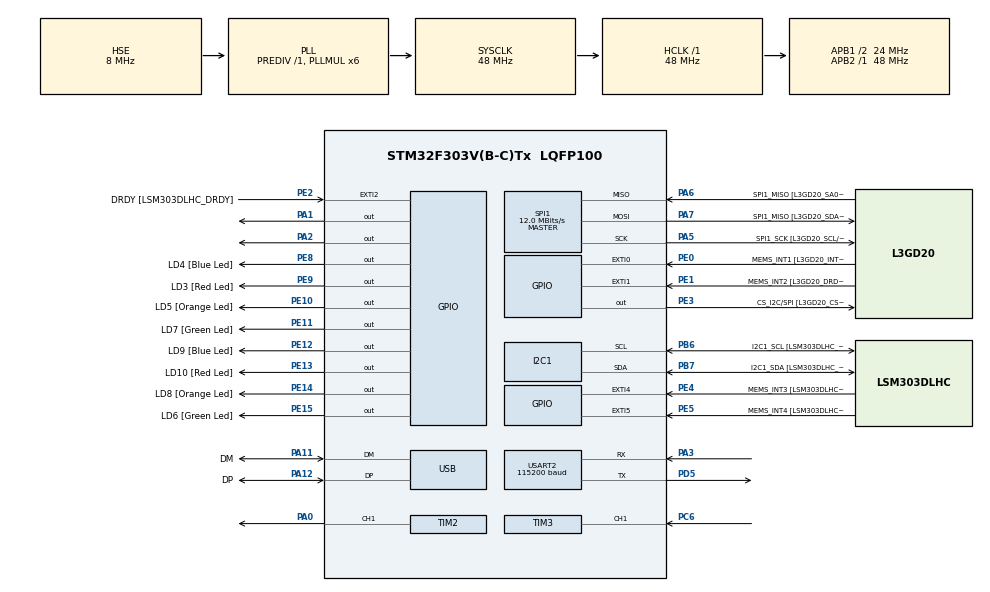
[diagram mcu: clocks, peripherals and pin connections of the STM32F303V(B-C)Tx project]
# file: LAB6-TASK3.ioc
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I2C1.Timing=0x2000090E
I2C1.Timing-I2C=0x2000090E
Mcu.Family=STM32F3
Mcu.Name=STM32F303V(B-C)Tx
Mcu.Package=LQFP100
NVIC.PriorityGroup=NVIC_PRIORITYGROUP_0
NVIC.TIM3_IRQn=true\:0\:0\:false\:false\:true\:true\:true\:true
PA0.Signal=S_TIM2_CH1_ETR
PA1.Signal=GPIO_Output
PA11.GPIO_Label=DM
PA11.Mode=Device
PA11.Signal=USB_DM
PA12.GPIO_Label=DP
PA12.Mode=Device
PA12.Signal=USB_DP
PA13.GPIO_Label=SWDIO
PA13.Mode=Serial_Wire
PA13.Signal=SYS_JTMS-SWDIO
PA14.GPIO_Label=SWCLK
PA14.Mode=Serial_Wire
PA14.Signal=SYS_JTCK-SWCLK
PA2.Signal=GPIO_Output
PA3.Mode=Asynchronous
PA3.Signal=USART2_RX
PA5.GPIO_Label=SPI1_SCK [L3GD20_SCL/SPC]
PA5.Mode=Full_Duplex_Master
PA5.Signal=SPI1_SCK
PA6.GPIO_Label=SPI1_MISO [L3GD20_SA0/SDO]
PA6.Mode=Full_Duplex_Master
PA6.Signal=SPI1_MISO
PA7.GPIO_Label=SPI1_MISO [L3GD20_SDA/SDI/SDO]
PA7.Mode=Full_Duplex_Master
PA7.Signal=SPI1_MOSI
PB3.GPIO_Label=SWO
PB3.Signal=SYS_JTDO-TRACESWO
PB6.GPIO_Label=I2C1_SCL [LSM303DLHC_SCL]
PB6.GPIO_Pu=GPIO_PULLUP
PB6.Mode=I2C
PB6.Signal=I2C1_SCL
PB7.GPIO_Label=I2C1_SDA [LSM303DLHC_SDA]
PB7.GPIO_Pu=GPIO_PULLUP
PB7.Mode=I2C
PB7.Signal=I2C1_SDA
PC14-OSC32_IN.GPIO_Label=OSC32_IN
PC14-OSC32_IN.Signal=RCC_OSC32_IN
PC15-OSC32_OUT.GPIO_Label=OSC32_OUT
PC15-OSC32_OUT.Signal=RCC_OSC32_OUT
PC6.GPIO_PuPd=GPIO_PULLDOWN
PC6.Signal=S_TIM3_CH1
PD5.Mode=Asynchronous
PD5.Signal=USART2_TX
PE0.GPIO_Label=MEMS_INT1 [L3GD20_INT1]
PE0.GPIO_ModeDefaultEXTI=GPIO_MODE_EVT_RISING
PE0.Signal=GPXTI0
PE1.GPIO_Label=MEMS_INT2 [L3GD20_DRDY/INT2]
PE1.GPIO_ModeDefaultEXTI=GPIO_MODE_EVT_RISING
PE1.Signal=GPXTI1
PE10.GPIO_Label=LD5 [Orange Led]
PE10.Signal=GPIO_Output
PE11.GPIO_Label=LD7 [Green Led]
PE11.Signal=GPIO_Output
PE12.GPIO_Label=LD9 [Blue Led]
PE12.Signal=GPIO_Output
PE13.GPIO_Label=LD10 [Red Led]
PE13.Signal=GPIO_Output
PE14.GPIO_Label=LD8 [Orange Led]
PE14.Signal=GPIO_Output
PE15.GPIO_Label=LD6 [Green Led]
PE15.Signal=GPIO_Output
PE2.GPIO_Label=DRDY [LSM303DLHC_DRDY]
PE2.GPIO_ModeDefaultEXTI=GPIO_MODE_EVT_RISING
PE2.Signal=GPXTI2
PE3.GPIO_Label=CS_I2C/SPI [L3GD20_CS_I2C/SPI]
PE3.Signal=GPIO_Output
PE4.GPIO_Label=MEMS_INT3 [LSM303DLHC_INT1]
PE4.GPIO_ModeDefaultEXTI=GPIO_MODE_EVT_RISING
PE4.Signal=GPXTI4
PE5.GPIO_Label=MEMS_INT4 [LSM303DLHC_INT2]
PE5.GPIO_ModeDefaultEXTI=GPIO_MODE_EVT_RISING
PE5.Signal=GPXTI5
PE8.GPIO_Label=LD4 [Blue Led]
PE8.Signal=GPIO_Output
PE9.GPIO_Label=LD3 [Red Led]
PE9.Signal=GPIO_Output
PF0-OSC_IN.GPIO_Label=OSC_IN
PF0-OSC_IN.Mode=HSE-External-Clock-Source
PF0-OSC_IN.Signal=RCC_OSC_IN
PF1-OSC_OUT.GPIO_Label=OSC_OUT
PF1-OSC_OUT.Signal=RCC_OSC_OUT
ProjectManager.HeapSize=0x200
ProjectManager.StackSize=0x400
ProjectManager.TargetToolchain=CMake
RCC.AHBFreq_Value=48000000
RCC.APB1CLKDivider=RCC_HCLK_DIV2
RCC.APB1Freq_Value=24000000
RCC.APB1TimFreq_Value=48000000
RCC.APB2Freq_Value=48000000
RCC.APB2TimFreq_Value=48000000
RCC.CortexFreq_Value=48000000
RCC.HCLKFreq_Value=48000000
RCC.HSE_VALUE=8000000
RCC.HSI_VALUE=8000000
RCC.LSE_VALUE=32768
RCC.PLLMUL=RCC_PLL_MUL6
RCC.SYSCLKFreq_VALUE=48000000
RCC.SYSCLKSourceVirtual=RCC_SYSCLKSOURCE_PLLCLK
RCC.USBFreq_Value=48000000
SH.S_TIM2_CH1_ETR.0=TIM2_CH1,PWM Generation1 CH1
SH.S_TIM3_CH1.0=TIM3_CH1,Input_Capture1_from_TI1
SPI1.BaudRatePrescaler=SPI_BAUDRATEPRESCALER_4
SPI1.BaudRatePrescaler-Full_Duplex_Master=SPI_BAUDRATEPRESCALER_2
SPI1.CalculateBaudRate=12.0 MBits/s
SPI1.CalculateBaudRate-Full_Duplex_Master=24.0 MBits/s
SPI1.Direction=SPI_DIRECTION_2LINES
SPI1.Mode=SPI_MODE_MASTER
SPI1.Mode-Full_Duplex_Master=SPI_MODE_MASTER
SPI1.VirtualType=VM_MASTER
TIM2.Channel-PWM\ Generation1\ CH1=TIM_CHANNEL_1
TIM2.Period=999
TIM2.Prescaler=47
TIM3.Channel-Input_Capture1_from_TI1=TIM_CHANNEL_1
TIM3.Period=65535
TIM3.Prescaler=71
USART2.BaudRate=115200
USART2.VirtualMode-Asynchronous=VM_ASYNC
board=STM32F3DISCOVERY

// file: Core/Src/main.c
/* USER CODE BEGIN Header */
/**
 ******************************************************************************
 * @file           : main.c
 * @brief          : Main program body
 ******************************************************************************
 * @attention
 *
 * Copyright (c) 2025 STMicroelectronics.
 * All rights reserved.
 *
 * This software is licensed under terms that can be found in the LICENSE file
 * in the root directory of this software component.
 * If no LICENSE file comes with this software, it is provided AS-IS.
 *
 ******************************************************************************
 */
/* USER CODE END Header */
#include "main.h"
#include <stdarg.h>
#include <stdio.h>
#include <string.h>

I2C_HandleTypeDef hi2c1;

SPI_HandleTypeDef hspi1;

TIM_HandleTypeDef htim2;
TIM_HandleTypeDef htim3;

UART_HandleTypeDef huart2;

PCD_HandleTypeDef hpcd_USB_FS;

/* USER CODE BEGIN PV */

#define MOTOR_IN1_Pin GPIO_PIN_1
#define MOTOR_IN2_Pin GPIO_PIN_2
#define MOTOR_PORT GPIOA

// Encoder setup
#define ENCODER_Pin GPIO_PIN_6
#define ENCODER_PORT GPIOC

// Constants
#define PPR 1920 // pulses per revolution

/* USER CODE END PV */

void SystemClock_Config(void);
static void MX_GPIO_Init(void);
static void MX_I2C1_Init(void);
static void MX_SPI1_Init(void);
static void MX_TIM2_Init(void);
static void MX_TIM3_Init(void);
static void MX_USART2_UART_Init(void);
static void MX_USB_PCD_Init(void);

/* USER CODE BEGIN 0 */
// Simple UART print helper
void print(const char *fmt, ...)
{
  char buf[128];
  va_list args;
  va_start(args, fmt);
  vsnprintf(buf, sizeof(buf), fmt, args);
  va_end(args);
  HAL_UART_Transmit(&huart2, (uint8_t *)buf, strlen(buf), HAL_MAX_DELAY);
}
/* USER CODE END 0 */

int main(void)
{

  /* MCU Configuration--------------------------------------------------------*/

  /* Reset of all peripherals, Initializes the Flash interface and the Systick. */
  HAL_Init();

  /* Configure the system clock */
  SystemClock_Config();

  /* Initialize all configured peripherals */
  MX_GPIO_Init();
  MX_I2C1_Init();
  MX_SPI1_Init();
  MX_TIM2_Init();
  MX_TIM3_Init();
  MX_USART2_UART_Init();
  MX_USB_PCD_Init();
  /* USER CODE BEGIN 2 */
  print("\r\n=== Lab 06 Task 3: Encoder RPM Measurement (Polling) ===\r\n");
  HAL_TIM_Base_Start(&htim2);
  HAL_TIM_Base_Start(&htim3);

  // Setup motor direction
  HAL_GPIO_WritePin(MOTOR_PORT, MOTOR_IN1_Pin, GPIO_PIN_SET);
  HAL_GPIO_WritePin(MOTOR_PORT, MOTOR_IN2_Pin, GPIO_PIN_RESET);
  HAL_TIM_PWM_Start(&htim2, TIM_CHANNEL_1);
  uint32_t duty = 500; // 50% duty cycle
  __HAL_TIM_SET_COMPARE(&htim2, TIM_CHANNEL_1, duty);

  // uint32_t t1 = 0, t2 = 0;
  uint32_t period_ticks = 0;
  /* USER CODE END 2 */

  /* Infinite loop */
  /* USER CODE END WHILE */

  while (1)
  {
    // Wait for first falling edge
    while (HAL_GPIO_ReadPin(ENCODER_PORT, ENCODER_Pin) == GPIO_PIN_SET)
      ;
    while (HAL_GPIO_ReadPin(ENCODER_PORT, ENCODER_Pin) == GPIO_PIN_RESET)
      ;
    __HAL_TIM_SET_COUNTER(&htim3, 0); // Reset timer

    // Wait for next falling edge
    while (HAL_GPIO_ReadPin(ENCODER_PORT, ENCODER_Pin) == GPIO_PIN_SET)
      ;
    while (HAL_GPIO_ReadPin(ENCODER_PORT, ENCODER_Pin) == GPIO_PIN_RESET)
      ;
    period_ticks = __HAL_TIM_GET_COUNTER(&htim3);

    // Avoid division by zero / overflow
    if (period_ticks > 0 && period_ticks < 60000)
    {
      int freq = 1000000 / (double)period_ticks; // Hz (since TIM3 tick = 1 µs)
      int rpm = (60 * freq) / PPR;

      print("Ticks: %lu   Freq: %d Hz   RPM: %d\r\n", period_ticks, freq, rpm);
    }
    else
    {
      print("Ticks: %lu   (invalid period)\r\n", period_ticks);
    }

    HAL_Delay(300);
  }

  /* USER CODE BEGIN 3 */
}

void SystemClock_Config(void)
{
  RCC_OscInitTypeDef RCC_OscInitStruct = {0};
  RCC_ClkInitTypeDef RCC_ClkInitStruct = {0};
  RCC_PeriphCLKInitTypeDef PeriphClkInit = {0};

  /** Initializes the RCC Oscillators according to the specified parameters
   * in the RCC_OscInitTypeDef structure.
   */
  RCC_OscInitStruct.OscillatorType = RCC_OSCILLATORTYPE_HSI | RCC_OSCILLATORTYPE_HSE;
  RCC_OscInitStruct.HSEState = RCC_HSE_BYPASS;
  RCC_OscInitStruct.HSEPredivValue = RCC_HSE_PREDIV_DIV1;
  RCC_OscInitStruct.HSIState = RCC_HSI_ON;
  RCC_OscInitStruct.HSICalibrationValue = RCC_HSICALIBRATION_DEFAULT;
  RCC_OscInitStruct.PLL.PLLState = RCC_PLL_ON;
  RCC_OscInitStruct.PLL.PLLSource = RCC_PLLSOURCE_HSE;
  RCC_OscInitStruct.PLL.PLLMUL = RCC_PLL_MUL6;
  if (HAL_RCC_OscConfig(&RCC_OscInitStruct) != HAL_OK)
  {
    Error_Handler();
  }

  /** Initializes the CPU, AHB and APB buses clocks
   */
  RCC_ClkInitStruct.ClockType = RCC_CLOCKTYPE_HCLK | RCC_CLOCKTYPE_SYSCLK | RCC_CLOCKTYPE_PCLK1 | RCC_CLOCKTYPE_PCLK2;
  RCC_ClkInitStruct.SYSCLKSource = RCC_SYSCLKSOURCE_PLLCLK;
  RCC_ClkInitStruct.AHBCLKDivider = RCC_SYSCLK_DIV1;
  RCC_ClkInitStruct.APB1CLKDivider = RCC_HCLK_DIV2;
  RCC_ClkInitStruct.APB2CLKDivider = RCC_HCLK_DIV1;

  if (HAL_RCC_ClockConfig(&RCC_ClkInitStruct, FLASH_LATENCY_1) != HAL_OK)
  {
    Error_Handler();
  }
  PeriphClkInit.PeriphClockSelection = RCC_PERIPHCLK_USB | RCC_PERIPHCLK_USART2 | RCC_PERIPHCLK_I2C1;
  PeriphClkInit.Usart2ClockSelection = RCC_USART2CLKSOURCE_PCLK1;
  PeriphClkInit.I2c1ClockSelection = RCC_I2C1CLKSOURCE_HSI;
  PeriphClkInit.USBClockSelection = RCC_USBCLKSOURCE_PLL;
  if (HAL_RCCEx_PeriphCLKConfig(&PeriphClkInit) != HAL_OK)
  {
    Error_Handler();
  }
}

static void MX_I2C1_Init(void)
{

  hi2c1.Instance = I2C1;
  hi2c1.Init.Timing = 0x2000090E;
  hi2c1.Init.OwnAddress1 = 0;
  hi2c1.Init.AddressingMode = I2C_ADDRESSINGMODE_7BIT;
  hi2c1.Init.DualAddressMode = I2C_DUALADDRESS_DISABLE;
  hi2c1.Init.OwnAddress2 = 0;
  hi2c1.Init.OwnAddress2Masks = I2C_OA2_NOMASK;
  hi2c1.Init.GeneralCallMode = I2C_GENERALCALL_DISABLE;
  hi2c1.Init.NoStretchMode = I2C_NOSTRETCH_DISABLE;
  if (HAL_I2C_Init(&hi2c1) != HAL_OK)
  {
    Error_Handler();
  }

  /** Configure Analogue filter
   */
  if (HAL_I2CEx_ConfigAnalogFilter(&hi2c1, I2C_ANALOGFILTER_ENABLE) != HAL_OK)
  {
    Error_Handler();
  }

  /** Configure Digital filter
   */
  if (HAL_I2CEx_ConfigDigitalFilter(&hi2c1, 0) != HAL_OK)
  {
    Error_Handler();
  }
}

static void MX_SPI1_Init(void)
{

  /* SPI1 parameter configuration*/
  hspi1.Instance = SPI1;
  hspi1.Init.Mode = SPI_MODE_MASTER;
  hspi1.Init.Direction = SPI_DIRECTION_2LINES;
  hspi1.Init.DataSize = SPI_DATASIZE_4BIT;
  hspi1.Init.CLKPolarity = SPI_POLARITY_LOW;
  hspi1.Init.CLKPhase = SPI_PHASE_1EDGE;
  hspi1.Init.NSS = SPI_NSS_SOFT;
  hspi1.Init.BaudRatePrescaler = SPI_BAUDRATEPRESCALER_4;
  hspi1.Init.FirstBit = SPI_FIRSTBIT_MSB;
  hspi1.Init.TIMode = SPI_TIMODE_DISABLE;
  hspi1.Init.CRCCalculation = SPI_CRCCALCULATION_DISABLE;
  hspi1.Init.CRCPolynomial = 7;
  hspi1.Init.CRCLength = SPI_CRC_LENGTH_DATASIZE;
  hspi1.Init.NSSPMode = SPI_NSS_PULSE_ENABLE;
  if (HAL_SPI_Init(&hspi1) != HAL_OK)
  {
    Error_Handler();
  }
}

static void MX_TIM2_Init(void)
{

  TIM_MasterConfigTypeDef sMasterConfig = {0};
  TIM_OC_InitTypeDef sConfigOC = {0};

  htim2.Instance = TIM2;
  htim2.Init.Prescaler = 47;
  htim2.Init.CounterMode = TIM_COUNTERMODE_UP;
  htim2.Init.Period = 999;
  htim2.Init.ClockDivision = TIM_CLOCKDIVISION_DIV1;
  htim2.Init.AutoReloadPreload = TIM_AUTORELOAD_PRELOAD_DISABLE;
  if (HAL_TIM_PWM_Init(&htim2) != HAL_OK)
  {
    Error_Handler();
  }
  sMasterConfig.MasterOutputTrigger = TIM_TRGO_RESET;
  sMasterConfig.MasterSlaveMode = TIM_MASTERSLAVEMODE_DISABLE;
  if (HAL_TIMEx_MasterConfigSynchronization(&htim2, &sMasterConfig) != HAL_OK)
  {
    Error_Handler();
  }
  sConfigOC.OCMode = TIM_OCMODE_PWM1;
  sConfigOC.Pulse = 0;
  sConfigOC.OCPolarity = TIM_OCPOLARITY_HIGH;
  sConfigOC.OCFastMode = TIM_OCFAST_DISABLE;
  if (HAL_TIM_PWM_ConfigChannel(&htim2, &sConfigOC, TIM_CHANNEL_1) != HAL_OK)
  {
    Error_Handler();
  }
  HAL_TIM_MspPostInit(&htim2);
}

static void MX_TIM3_Init(void)
{

  TIM_MasterConfigTypeDef sMasterConfig = {0};
  TIM_IC_InitTypeDef sConfigIC = {0};

  htim3.Instance = TIM3;
  htim3.Init.Prescaler = 71;
  htim3.Init.CounterMode = TIM_COUNTERMODE_UP;
  htim3.Init.Period = 65535;
  htim3.Init.ClockDivision = TIM_CLOCKDIVISION_DIV1;
  htim3.Init.AutoReloadPreload = TIM_AUTORELOAD_PRELOAD_DISABLE;
  if (HAL_TIM_IC_Init(&htim3) != HAL_OK)
  {
    Error_Handler();
  }
  sMasterConfig.MasterOutputTrigger = TIM_TRGO_RESET;
  sMasterConfig.MasterSlaveMode = TIM_MASTERSLAVEMODE_DISABLE;
  if (HAL_TIMEx_MasterConfigSynchronization(&htim3, &sMasterConfig) != HAL_OK)
  {
    Error_Handler();
  }
  sConfigIC.ICPolarity = TIM_INPUTCHANNELPOLARITY_RISING;
  sConfigIC.ICSelection = TIM_ICSELECTION_DIRECTTI;
  sConfigIC.ICPrescaler = TIM_ICPSC_DIV1;
  sConfigIC.ICFilter = 0;
  if (HAL_TIM_IC_ConfigChannel(&htim3, &sConfigIC, TIM_CHANNEL_1) != HAL_OK)
  {
    Error_Handler();
  }
}

static void MX_USART2_UART_Init(void)
{

  huart2.Instance = USART2;
  huart2.Init.BaudRate = 115200;
  huart2.Init.WordLength = UART_WORDLENGTH_8B;
  huart2.Init.StopBits = UART_STOPBITS_1;
  huart2.Init.Parity = UART_PARITY_NONE;
  huart2.Init.Mode = UART_MODE_TX_RX;
  huart2.Init.HwFlowCtl = UART_HWCONTROL_NONE;
  huart2.Init.OverSampling = UART_OVERSAMPLING_16;
  huart2.Init.OneBitSampling = UART_ONE_BIT_SAMPLE_DISABLE;
  huart2.AdvancedInit.AdvFeatureInit = UART_ADVFEATURE_NO_INIT;
  if (HAL_UART_Init(&huart2) != HAL_OK)
  {
    Error_Handler();
  }
}

static void MX_USB_PCD_Init(void)
{

  hpcd_USB_FS.Instance = USB;
  hpcd_USB_FS.Init.dev_endpoints = 8;
  hpcd_USB_FS.Init.speed = PCD_SPEED_FULL;
  hpcd_USB_FS.Init.phy_itface = PCD_PHY_EMBEDDED;
  hpcd_USB_FS.Init.low_power_enable = DISABLE;
  hpcd_USB_FS.Init.battery_charging_enable = DISABLE;
  if (HAL_PCD_Init(&hpcd_USB_FS) != HAL_OK)
  {
    Error_Handler();
  }
}

static void MX_GPIO_Init(void)
{
  GPIO_InitTypeDef GPIO_InitStruct = {0};

  /* GPIO Ports Clock Enable */
  __HAL_RCC_GPIOE_CLK_ENABLE();
  __HAL_RCC_GPIOC_CLK_ENABLE();
  __HAL_RCC_GPIOF_CLK_ENABLE();
  __HAL_RCC_GPIOA_CLK_ENABLE();
  __HAL_RCC_GPIOD_CLK_ENABLE();
  __HAL_RCC_GPIOB_CLK_ENABLE();

  /*Configure GPIO pin Output Level */
  HAL_GPIO_WritePin(GPIOE, CS_I2C_SPI_Pin | LD4_Pin | LD3_Pin | LD5_Pin | LD7_Pin | LD9_Pin | LD10_Pin | LD8_Pin | LD6_Pin, GPIO_PIN_RESET);

  /*Configure GPIO pin Output Level */
  HAL_GPIO_WritePin(GPIOA, GPIO_PIN_1 | GPIO_PIN_2, GPIO_PIN_RESET);

  /*Configure GPIO pins : DRDY_Pin MEMS_INT3_Pin MEMS_INT4_Pin MEMS_INT1_Pin
                           MEMS_INT2_Pin */
  GPIO_InitStruct.Pin = DRDY_Pin | MEMS_INT3_Pin | MEMS_INT4_Pin | MEMS_INT1_Pin | MEMS_INT2_Pin;
  GPIO_InitStruct.Mode = GPIO_MODE_EVT_RISING;
  GPIO_InitStruct.Pull = GPIO_NOPULL;
  HAL_GPIO_Init(GPIOE, &GPIO_InitStruct);

  /*Configure GPIO pins : CS_I2C_SPI_Pin LD4_Pin LD3_Pin LD5_Pin
                           LD7_Pin LD9_Pin LD10_Pin LD8_Pin
                           LD6_Pin */
  GPIO_InitStruct.Pin = CS_I2C_SPI_Pin | LD4_Pin | LD3_Pin | LD5_Pin | LD7_Pin | LD9_Pin | LD10_Pin | LD8_Pin | LD6_Pin;
  GPIO_InitStruct.Mode = GPIO_MODE_OUTPUT_PP;
  GPIO_InitStruct.Pull = GPIO_NOPULL;
  GPIO_InitStruct.Speed = GPIO_SPEED_FREQ_LOW;
  HAL_GPIO_Init(GPIOE, &GPIO_InitStruct);

  /*Configure GPIO pins : PA1 PA2 */
  GPIO_InitStruct.Pin = GPIO_PIN_1 | GPIO_PIN_2;
  GPIO_InitStruct.Mode = GPIO_MODE_OUTPUT_PP;
  GPIO_InitStruct.Pull = GPIO_NOPULL;
  GPIO_InitStruct.Speed = GPIO_SPEED_FREQ_LOW;
  HAL_GPIO_Init(GPIOA, &GPIO_InitStruct);

}

void Error_Handler(void)
{
  __disable_irq();
  while (1)
  {
  }
}
